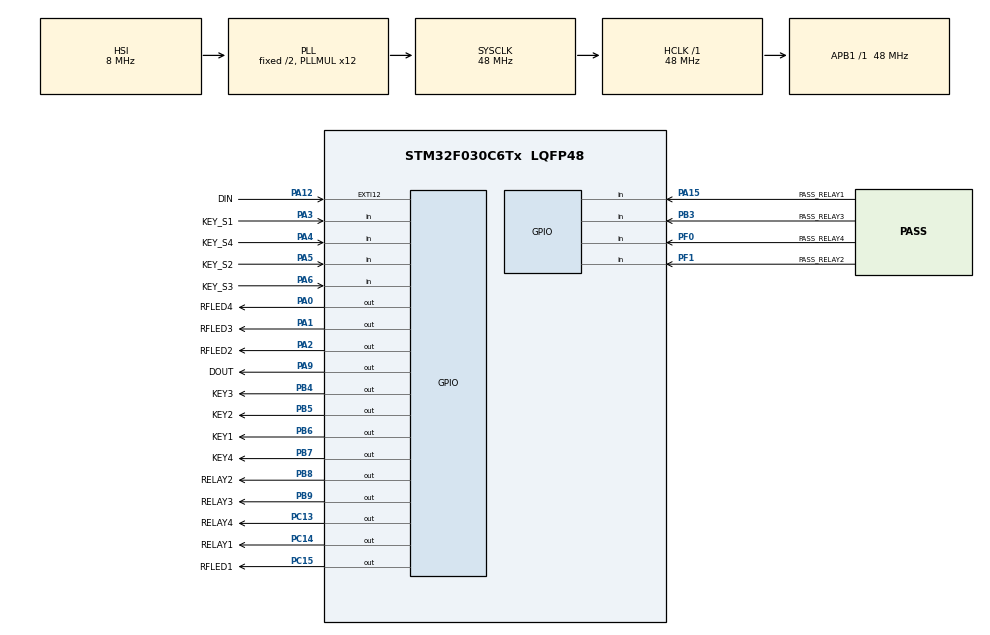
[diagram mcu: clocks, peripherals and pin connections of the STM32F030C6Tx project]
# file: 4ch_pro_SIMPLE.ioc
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Mcu.Family=STM32F0
Mcu.Name=STM32F030C6Tx
Mcu.Package=LQFP48
NVIC.EXTI4_15_IRQn=true\:0\:0\:false\:false\:true\:true\:true
PA0.GPIO_Label=RFLED4
PA0.Signal=GPIO_Output
PA1.GPIO_Label=RFLED3
PA1.Signal=GPIO_Output
PA12.GPIO_Label=DIN
PA12.GPIO_ModeDefaultEXTI=GPIO_MODE_IT_RISING_FALLING
PA12.Signal=GPXTI12
PA15.GPIO_Label=PASS_RELAY1
PA15.Signal=GPIO_Input
PA2.GPIO_Label=RFLED2
PA2.Signal=GPIO_Output
PA3.GPIO_Label=KEY_S1
PA3.Signal=GPIO_Input
PA4.GPIO_Label=KEY_S4
PA4.Signal=GPIO_Input
PA5.GPIO_Label=KEY_S2
PA5.Signal=GPIO_Input
PA6.GPIO_Label=KEY_S3
PA6.Signal=GPIO_Input
PA9.GPIO_FMA9=__NULL
PA9.GPIO_Label=DOUT
PA9.GPIO_Speed=GPIO_SPEED_FREQ_MEDIUM
PA9.Signal=GPIO_Output
PB3.GPIO_Label=PASS_RELAY3
PB3.Signal=GPIO_Input
PB4.GPIO_Label=KEY3
PB4.Signal=GPIO_Output
PB5.GPIO_Label=KEY2
PB5.Signal=GPIO_Output
PB6.GPIO_Label=KEY1
PB6.PinState=GPIO_PIN_SET
PB6.Signal=GPIO_Output
PB7.GPIO_Label=KEY4
PB7.Signal=GPIO_Output
PB8.GPIO_Label=RELAY2
PB8.Signal=GPIO_Output
PB9.GPIO_Label=RELAY3
PB9.Signal=GPIO_Output
PC13.GPIO_Label=RELAY4
PC13.Signal=GPIO_Output
PC14-OSC32_IN.GPIO_Label=RELAY1
PC14-OSC32_IN.Signal=GPIO_Output
PC15-OSC32_OUT.GPIO_Label=RFLED1
PC15-OSC32_OUT.Signal=GPIO_Output
PF0-OSC_IN.GPIO_Label=PASS_RELAY4
PF0-OSC_IN.Signal=GPIO_Input
PF1-OSC_OUT.GPIO_Label=PASS_RELAY2
PF1-OSC_OUT.Signal=GPIO_Input
ProjectManager.HeapSize=0x200
ProjectManager.StackSize=0x400
ProjectManager.TargetToolchain=MDK-ARM V5.27
RCC.AHBFreq_Value=48000000
RCC.APB1Freq_Value=48000000
RCC.APB1TimFreq_Value=48000000
RCC.HCLKFreq_Value=48000000
RCC.PLLMUL=RCC_PLL_MUL12
RCC.SYSCLKFreq_VALUE=48000000
RCC.SYSCLKSource=RCC_SYSCLKSOURCE_PLLCLK
board=custom

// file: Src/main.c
/* USER CODE BEGIN Header */
/**
  ******************************************************************************
  * @file           : main.c
  * @brief          : Main program body
  ******************************************************************************
  * @attention
  *
  * <h2><center>&copy; Copyright (c) 2020 STMicroelectronics.
  * All rights reserved.</center></h2>
  *
  * This software component is licensed by ST under BSD 3-Clause license,
  * the "License"; You may not use this file except in compliance with the
  * License. You may obtain a copy of the License at:
  *                        opensource.org/licenses/BSD-3-Clause
  *
  ******************************************************************************
  */
/* USER CODE END Header */

#include "main.h"

void SystemClock_Config(void);
static void MX_GPIO_Init(void);

/* USER CODE BEGIN 0 */
void HAL_GPIO_EXTI_Callback(uint16_t GPIO_Pin)
{
	if (GPIO_Pin == DIN_Pin) {
			HAL_GPIO_WritePin(KEY2_GPIO_Port, KEY2_Pin, HAL_GPIO_ReadPin(DIN_GPIO_Port, DIN_Pin));
	}
}
/* USER CODE END 0 */

int main(void)
{

  /* MCU Configuration--------------------------------------------------------*/

  /* Reset of all peripherals, Initializes the Flash interface and the Systick. */
  HAL_Init();

  /* Configure the system clock */
  SystemClock_Config();

  /* Initialize all configured peripherals */
  MX_GPIO_Init();
  /* USER CODE BEGIN 2 */
	GPIO_PinState state1 = HAL_GPIO_ReadPin(PASS_RELAY1_GPIO_Port, PASS_RELAY1_Pin);
	GPIO_PinState prev_state1 = HAL_GPIO_ReadPin(PASS_RELAY1_GPIO_Port, PASS_RELAY1_Pin);

	GPIO_PinState state2 = HAL_GPIO_ReadPin(PASS_RELAY2_GPIO_Port, PASS_RELAY2_Pin);
	GPIO_PinState prev_state2 = HAL_GPIO_ReadPin(PASS_RELAY2_GPIO_Port, PASS_RELAY2_Pin);

	GPIO_PinState state3 = HAL_GPIO_ReadPin(PASS_RELAY3_GPIO_Port, PASS_RELAY3_Pin);
	GPIO_PinState prev_state3 = HAL_GPIO_ReadPin(PASS_RELAY3_GPIO_Port, PASS_RELAY3_Pin);

	GPIO_PinState state4 = HAL_GPIO_ReadPin(PASS_RELAY4_GPIO_Port, PASS_RELAY4_Pin);
	GPIO_PinState prev_state4 = HAL_GPIO_ReadPin(PASS_RELAY4_GPIO_Port, PASS_RELAY4_Pin);

  HAL_GPIO_WritePin(RFLED1_GPIO_Port, RFLED1_Pin, GPIO_PIN_RESET);
	HAL_GPIO_WritePin(RELAY1_GPIO_Port, RELAY1_Pin, GPIO_PIN_RESET);

	HAL_GPIO_WritePin(RFLED2_GPIO_Port, RFLED2_Pin, GPIO_PIN_RESET);
	HAL_GPIO_WritePin(RELAY2_GPIO_Port, RELAY2_Pin, GPIO_PIN_RESET);

	HAL_GPIO_WritePin(RFLED3_GPIO_Port, RFLED3_Pin, GPIO_PIN_RESET);
	HAL_GPIO_WritePin(RELAY3_GPIO_Port, RELAY3_Pin, GPIO_PIN_RESET);

	HAL_GPIO_WritePin(RFLED4_GPIO_Port, RFLED4_Pin, GPIO_PIN_RESET);
	HAL_GPIO_WritePin(RELAY4_GPIO_Port, RELAY4_Pin, GPIO_PIN_RESET);

	uint32_t time_key1 = 0;
	uint32_t time_key2 = 0;
  /* USER CODE END 2 */

  /* Infinite loop */
  /* USER CODE BEGIN WHILE */
  while (1)
  {
		state1 = HAL_GPIO_ReadPin(PASS_RELAY1_GPIO_Port, PASS_RELAY1_Pin);
		if (state1 != prev_state1)
		{
			prev_state1 = state1;
			if (state1 == GPIO_PIN_SET)
			{
				HAL_GPIO_WritePin(RFLED1_GPIO_Port, RFLED1_Pin, GPIO_PIN_SET);
				HAL_GPIO_WritePin(RELAY1_GPIO_Port, RELAY1_Pin, GPIO_PIN_SET);
			}
			else{
				HAL_GPIO_WritePin(RFLED1_GPIO_Port, RFLED1_Pin, GPIO_PIN_RESET);
				HAL_GPIO_WritePin(RELAY1_GPIO_Port, RELAY1_Pin, GPIO_PIN_RESET);
			}
		}

		state2 = HAL_GPIO_ReadPin(PASS_RELAY2_GPIO_Port, PASS_RELAY2_Pin);
		if (state2 != prev_state2)
		{
			prev_state2 = state2;
			if (state2 == GPIO_PIN_SET)
			{
				HAL_GPIO_WritePin(RFLED2_GPIO_Port, RFLED2_Pin, GPIO_PIN_SET);
				HAL_GPIO_WritePin(RELAY2_GPIO_Port, RELAY2_Pin, GPIO_PIN_SET);
			}
			else{
				HAL_GPIO_WritePin(RFLED2_GPIO_Port, RFLED2_Pin, GPIO_PIN_RESET);
				HAL_GPIO_WritePin(RELAY2_GPIO_Port, RELAY2_Pin, GPIO_PIN_RESET);
			}
		}

		state3 = HAL_GPIO_ReadPin(PASS_RELAY3_GPIO_Port, PASS_RELAY3_Pin);
		if (state3 != prev_state3)
		{
			prev_state3 = state3;
			if (state3 == GPIO_PIN_SET)
			{
				HAL_GPIO_WritePin(RFLED3_GPIO_Port, RFLED3_Pin, GPIO_PIN_SET);
				HAL_GPIO_WritePin(RELAY3_GPIO_Port, RELAY3_Pin, GPIO_PIN_SET);
			}
			else{
				HAL_GPIO_WritePin(RFLED3_GPIO_Port, RFLED3_Pin, GPIO_PIN_RESET);
				HAL_GPIO_WritePin(RELAY3_GPIO_Port, RELAY3_Pin, GPIO_PIN_RESET);
			}
		}

		state4 = HAL_GPIO_ReadPin(PASS_RELAY4_GPIO_Port, PASS_RELAY4_Pin);
		if (state4 != prev_state4)
		{
			prev_state4 = state4;
			if (state4 == GPIO_PIN_SET)
			{
				HAL_GPIO_WritePin(RFLED4_GPIO_Port, RFLED4_Pin, GPIO_PIN_SET);
				HAL_GPIO_WritePin(RELAY4_GPIO_Port, RELAY4_Pin, GPIO_PIN_SET);
			}
			else{
				HAL_GPIO_WritePin(RFLED4_GPIO_Port, RFLED4_Pin, GPIO_PIN_RESET);
				HAL_GPIO_WritePin(RELAY4_GPIO_Port, RELAY4_Pin, GPIO_PIN_RESET);
			}
		}
    /* USER CODE END WHILE */

    /* USER CODE BEGIN 3 */
		uint32_t ms = HAL_GetTick();
		if ((ms - time_key1) > 100){
			HAL_GPIO_WritePin(KEY4_GPIO_Port, KEY4_Pin, HAL_GPIO_ReadPin(KEY_S4_GPIO_Port, KEY_S4_Pin));
			time_key1 = ms;
		}

		if ((ms - time_key2) > 100){
			HAL_GPIO_WritePin(KEY3_GPIO_Port, KEY3_Pin, HAL_GPIO_ReadPin(KEY_S3_GPIO_Port, KEY_S3_Pin));
			time_key2 = ms;
		}
	}
  /* USER CODE END 3 */
}

void SystemClock_Config(void)
{
  RCC_OscInitTypeDef RCC_OscInitStruct = {0};
  RCC_ClkInitTypeDef RCC_ClkInitStruct = {0};

  /** Initializes the CPU, AHB and APB busses clocks
  */
  RCC_OscInitStruct.OscillatorType = RCC_OSCILLATORTYPE_HSI;
  RCC_OscInitStruct.HSIState = RCC_HSI_ON;
  RCC_OscInitStruct.HSICalibrationValue = RCC_HSICALIBRATION_DEFAULT;
  RCC_OscInitStruct.PLL.PLLState = RCC_PLL_ON;
  RCC_OscInitStruct.PLL.PLLSource = RCC_PLLSOURCE_HSI;
  RCC_OscInitStruct.PLL.PLLMUL = RCC_PLL_MUL12;
  RCC_OscInitStruct.PLL.PREDIV = RCC_PREDIV_DIV1;
  if (HAL_RCC_OscConfig(&RCC_OscInitStruct) != HAL_OK)
  {
    Error_Handler();
  }
  /** Initializes the CPU, AHB and APB busses clocks
  */
  RCC_ClkInitStruct.ClockType = RCC_CLOCKTYPE_HCLK|RCC_CLOCKTYPE_SYSCLK
                              |RCC_CLOCKTYPE_PCLK1;
  RCC_ClkInitStruct.SYSCLKSource = RCC_SYSCLKSOURCE_PLLCLK;
  RCC_ClkInitStruct.AHBCLKDivider = RCC_SYSCLK_DIV1;
  RCC_ClkInitStruct.APB1CLKDivider = RCC_HCLK_DIV1;

  if (HAL_RCC_ClockConfig(&RCC_ClkInitStruct, FLASH_LATENCY_1) != HAL_OK)
  {
    Error_Handler();
  }
}

static void MX_GPIO_Init(void)
{
  GPIO_InitTypeDef GPIO_InitStruct = {0};

  /* GPIO Ports Clock Enable */
  __HAL_RCC_GPIOC_CLK_ENABLE();
  __HAL_RCC_GPIOF_CLK_ENABLE();
  __HAL_RCC_GPIOA_CLK_ENABLE();
  __HAL_RCC_GPIOB_CLK_ENABLE();

  /*Configure GPIO pin Output Level */
  HAL_GPIO_WritePin(GPIOC, RELAY4_Pin|RELAY1_Pin|RFLED1_Pin, GPIO_PIN_RESET);

  /*Configure GPIO pin Output Level */
  HAL_GPIO_WritePin(GPIOA, RFLED4_Pin|RFLED3_Pin|RFLED2_Pin|DOUT_Pin, GPIO_PIN_RESET);

  /*Configure GPIO pin Output Level */
  HAL_GPIO_WritePin(GPIOB, KEY3_Pin|KEY2_Pin|KEY4_Pin|RELAY2_Pin
                          |RELAY3_Pin, GPIO_PIN_RESET);

  /*Configure GPIO pin Output Level */
  HAL_GPIO_WritePin(KEY1_GPIO_Port, KEY1_Pin, GPIO_PIN_SET);

  /*Configure GPIO pins : RELAY4_Pin RELAY1_Pin RFLED1_Pin */
  GPIO_InitStruct.Pin = RELAY4_Pin|RELAY1_Pin|RFLED1_Pin;
  GPIO_InitStruct.Mode = GPIO_MODE_OUTPUT_PP;
  GPIO_InitStruct.Pull = GPIO_NOPULL;
  GPIO_InitStruct.Speed = GPIO_SPEED_FREQ_LOW;
  HAL_GPIO_Init(GPIOC, &GPIO_InitStruct);

  /*Configure GPIO pins : PASS_RELAY4_Pin PASS_RELAY2_Pin */
  GPIO_InitStruct.Pin = PASS_RELAY4_Pin|PASS_RELAY2_Pin;
  GPIO_InitStruct.Mode = GPIO_MODE_INPUT;
  GPIO_InitStruct.Pull = GPIO_NOPULL;
  HAL_GPIO_Init(GPIOF, &GPIO_InitStruct);

  /*Configure GPIO pins : RFLED4_Pin RFLED3_Pin RFLED2_Pin */
  GPIO_InitStruct.Pin = RFLED4_Pin|RFLED3_Pin|RFLED2_Pin;
  GPIO_InitStruct.Mode = GPIO_MODE_OUTPUT_PP;
  GPIO_InitStruct.Pull = GPIO_NOPULL;
  GPIO_InitStruct.Speed = GPIO_SPEED_FREQ_LOW;
  HAL_GPIO_Init(GPIOA, &GPIO_InitStruct);

  /*Configure GPIO pins : KEY_S1_Pin KEY_S4_Pin KEY_S2_Pin KEY_S3_Pin
                           PASS_RELAY1_Pin */
  GPIO_InitStruct.Pin = KEY_S1_Pin|KEY_S4_Pin|KEY_S2_Pin|KEY_S3_Pin
                          |PASS_RELAY1_Pin;
  GPIO_InitStruct.Mode = GPIO_MODE_INPUT;
  GPIO_InitStruct.Pull = GPIO_NOPULL;
  HAL_GPIO_Init(GPIOA, &GPIO_InitStruct);

  /*Configure GPIO pin : DOUT_Pin */
  GPIO_InitStruct.Pin = DOUT_Pin;
  GPIO_InitStruct.Mode = GPIO_MODE_OUTPUT_PP;
  GPIO_InitStruct.Pull = GPIO_NOPULL;
  GPIO_InitStruct.Speed = GPIO_SPEED_FREQ_MEDIUM;
  HAL_GPIO_Init(DOUT_GPIO_Port, &GPIO_InitStruct);

  /*Configure GPIO pin : DIN_Pin */
  GPIO_InitStruct.Pin = DIN_Pin;
  GPIO_InitStruct.Mode = GPIO_MODE_IT_RISING_FALLING;
  GPIO_InitStruct.Pull = GPIO_NOPULL;
  HAL_GPIO_Init(DIN_GPIO_Port, &GPIO_InitStruct);

  /*Configure GPIO pin : PASS_RELAY3_Pin */
  GPIO_InitStruct.Pin = PASS_RELAY3_Pin;
  GPIO_InitStruct.Mode = GPIO_MODE_INPUT;
  GPIO_InitStruct.Pull = GPIO_NOPULL;
  HAL_GPIO_Init(PASS_RELAY3_GPIO_Port, &GPIO_InitStruct);

  /*Configure GPIO pins : KEY3_Pin KEY2_Pin KEY1_Pin KEY4_Pin
                           RELAY2_Pin RELAY3_Pin */
  GPIO_InitStruct.Pin = KEY3_Pin|KEY2_Pin|KEY1_Pin|KEY4_Pin
                          |RELAY2_Pin|RELAY3_Pin;
  GPIO_InitStruct.Mode = GPIO_MODE_OUTPUT_PP;
  GPIO_InitStruct.Pull = GPIO_NOPULL;
  GPIO_InitStruct.Speed = GPIO_SPEED_FREQ_LOW;
  HAL_GPIO_Init(GPIOB, &GPIO_InitStruct);

  /* EXTI interrupt init*/
  HAL_NVIC_SetPriority(EXTI4_15_IRQn, 0, 0);
  HAL_NVIC_EnableIRQ(EXTI4_15_IRQn);

}

void Error_Handler(void)
{
}

/************************ (C) COPYRIGHT STMicroelectronics *****END OF FILE****/
